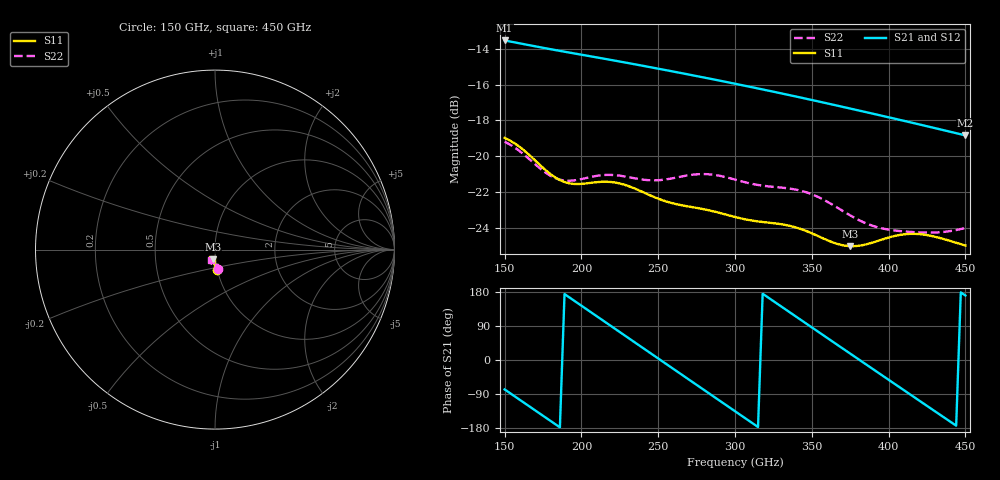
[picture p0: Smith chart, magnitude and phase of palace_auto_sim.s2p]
#  GHZ S DB R 50
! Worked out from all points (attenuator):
!   101 points, 150 GHz to 450 GHz, reference 50 ohm
!   highest |S21| = -13.53 dB at 150 GHz (marker M1); lowest = -18.8 dB at 450 GHz (marker M2)
!   lowest |S11| = -25.0 dB at 375 GHz (marker M3), VSWR 1.12, Z = 48.7 - j5.38 ohm
!   |S11| at or under -10 dB: start of sweep to end of sweep
!   |S22| runs from -24.3 to -19.2 dB; largest |S21 - S12| = 2.4e-14
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150  -18.98 -84.2  -13.53 -77.6  -13.53 -77.6  -19.19 -81.1
162  -19.63 -88.2  -13.73 -111.0  -13.73 -111.0  -19.86 -84.1
177  -20.80 -89.9  -13.97 -152.7  -13.97 -152.7  -20.93 -84.0
189  -21.44 -87.8  -14.16 174.0  -14.16 174.0  -21.36 -81.0
201  -21.54 -86.1  -14.34 140.6  -14.34 140.6  -21.26 -79.2
213  -21.43 -87.1  -14.52 107.1  -14.52 107.1  -21.06 -80.2
225  -21.52 -90.0  -14.71 73.7  -14.71 73.7  -21.09 -82.5
240  -22.00 -93.3  -14.94 31.9  -14.94 31.9  -21.31 -84.3
252  -22.44 -94.4  -15.14 -1.5  -15.14 -1.5  -21.33 -84.8
276  -22.90 -95.7  -15.54 -68.4  -15.54 -68.4  -21.00 -89.2
288  -23.12 -97.1  -15.74 -101.8  -15.74 -101.8  -21.06 -93.1
300  -23.39 -98.1  -15.95 -135.1  -15.95 -135.1  -21.30 -96.3
312  -23.61 -98.6  -16.16 -168.5  -16.16 -168.5  -21.56 -98.6
324  -23.73 -99.5  -16.37 158.2  -16.37 158.2  -21.70 -100.6
339  -23.96 -101.6  -16.65 116.6  -16.65 116.6  -21.85 -104.2
351  -24.34 -103.0  -16.87 83.3  -16.87 83.3  -22.16 -107.8
375  -25.03 -100.8  -17.33 16.9  -17.33 16.9  -23.30 -111.8
387  -24.89 -99.0  -17.57 -16.3  -17.57 -16.3  -23.81 -111.3
402  -24.50 -99.7  -17.86 -57.7  -17.86 -57.7  -24.13 -109.9
423  -24.38 -104.5  -18.28 -115.5  -18.28 -115.5  -24.26 -108.8
438  -24.68 -107.5  -18.59 -156.8  -18.59 -156.8  -24.21 -108.2
450  -24.99 -109.0  -18.83 170.2  -18.83 170.2  -24.01 -108.3
